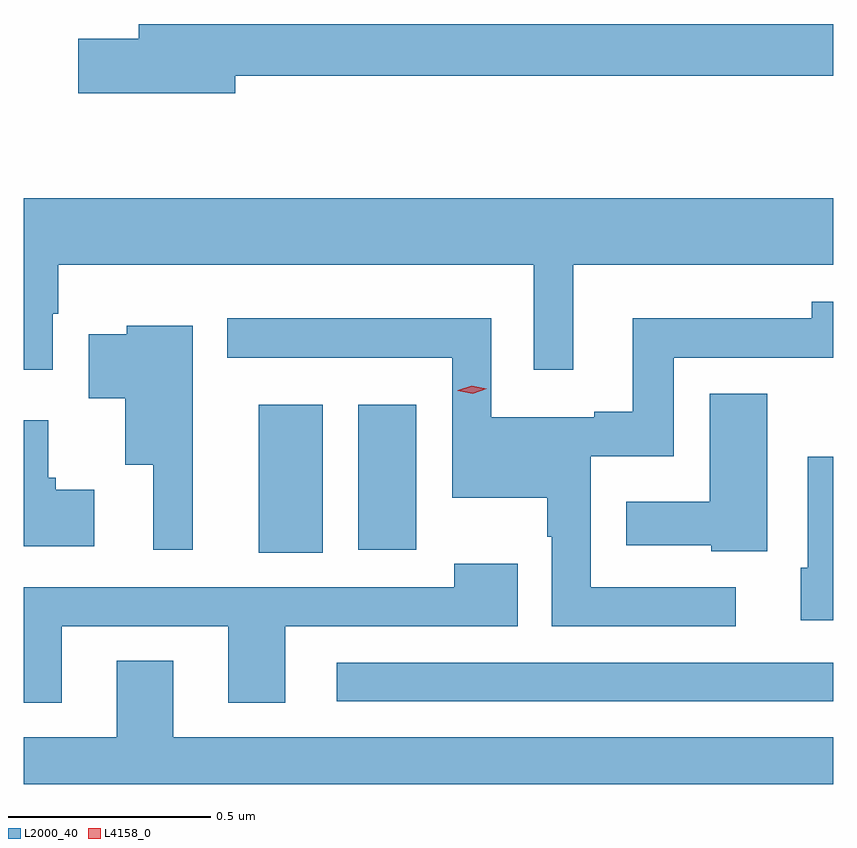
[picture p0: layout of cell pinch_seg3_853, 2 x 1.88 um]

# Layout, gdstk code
import gdstk
lib = gdstk.Library(unit=1e-6, precision=1e-09)
def R(c, l, rs):  # rectangles x0, y0, x1, y1
    for r in rs: c.add(gdstk.rectangle(r[:2], r[2:], *l))
def P(c, l, *ps):  # polygons
    for p in ps: c.add(gdstk.Polygon(p, *l))
L2000_40 = (2000, 40)
L4158_0 = (4158, 0)

pinch_seg3_853 = lib.new_cell('pinch_seg3_853')
R(pinch_seg3_853, L2000_40, [(726.081,731.805,727.307,731.901), (725.888,732.172,726.046,732.538), (726.134,732.18,726.277,732.538)])
P(pinch_seg3_853, L2000_40, [(725.83,733.35),(727.307,733.35),(727.307,733.478),(725.591,733.478),(725.591,733.442),(725.442,733.442),(725.442,733.307),(725.83,733.307)],
  [(725.379,732.762),(725.392,732.762),(725.392,732.884),(726.567,732.884),(726.567,732.624),(726.664,732.624),(726.664,732.884),(727.307,732.884),(727.307,733.048),(725.307,733.048),(725.307,732.624),(725.379,732.624)],
  [(727.066,732.087),(726.708,732.087),(726.708,732.411),(726.913,732.411),(726.913,732.654),(727.307,732.654),(727.307,732.792),(727.254,732.792),(727.254,732.751),(726.812,732.751),(726.812,732.52),(726.716,732.52),(726.716,732.507),(726.462,732.507),(726.462,732.751),(725.81,732.751),(725.81,732.654),(726.366,732.654),(726.366,732.308),(726.6,732.308),(726.6,732.212),(726.612,732.212),(726.612,731.991),(727.066,731.991)],
  [(725.725,732.733),(725.562,732.733),(725.562,732.712),(725.468,732.712),(725.468,732.554),(725.558,732.554),(725.558,732.389),(725.627,732.389),(725.627,732.18),(725.725,732.18)],
  [(727.144,732.565),(727.001,732.565),(727.001,732.298),(726.795,732.298),(726.795,732.191),(727.005,732.191),(727.005,732.176),(727.144,732.176)],
  [(725.482,732.328),(725.386,732.328),(725.386,732.357),(725.368,732.357),(725.368,732.499),(725.307,732.499),(725.307,732.188),(725.482,732.188)],
  [(727.307,732.409),(727.244,732.409),(727.244,732.135),(727.226,732.135),(727.226,732.005),(727.307,732.005)],
  [(725.401,731.991),(725.813,731.991),(725.813,731.802),(725.953,731.802),(725.953,731.991),(726.527,731.991),(726.527,732.145),(726.371,732.145),(726.371,732.087),(725.307,732.087),(725.307,731.802),(725.401,731.802)],
  [(727.307,731.716),(725.677,731.716),(725.677,731.906),(725.537,731.906),(725.537,731.716),(725.307,731.716),(725.307,731.601),(727.307,731.601)])
P(pinch_seg3_853, L4158_0, [(726.416,732.565),(726.379,732.572),(726.379,732.573),(726.379,732.573),(726.414,732.585),(726.451,732.577),(726.451,732.577),(726.451,732.577)])

lib.write_gds('pinch_seg3_853.gds')
